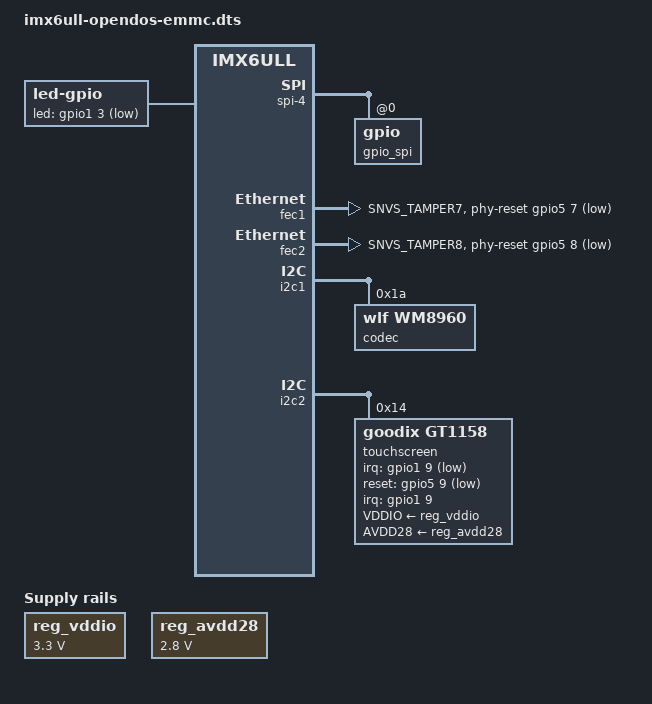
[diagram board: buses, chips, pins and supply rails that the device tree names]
#include "imx6ull-14x14-evk-emmc.dts"

/ {
	spi-4 {
		/delete-property/ cs-gpios;

		gpio_spi: gpio@0 {
			/delete-property/ enable-gpios;
		};
	};

	led {
		#address-cells = <1>;
		#size-cells = <1>;
		compatible = "led-gpio";
		pinctrl-names = "default";
		pinctrl-0 = <&pinctrl_led>;
		led-gpio = <&gpio1 3 GPIO_ACTIVE_LOW>;
		status = "okay";
	};

	reg_vddio: regulator-vddio {
		compatible = "regulator-fixed";
		regulator-name = "VDDIO";
		regulator-min-microvolt = <3300000>;
		regulator-max-microvolt = <3300000>;
		regulator-enable-high = <1>;
	};

	reg_avdd28: regulator-avdd28 {
		compatible = "regulator-fixed";
		regulator-name = "AVDD28";
		regulator-min-microvolt = <2800000>;
		regulator-max-microvolt = <2800000>;
		regulator-enable-high = <1>;
	};
};

&lcdif {
	display0: display@0 {
		display-timings {
			timing0: timing0 {
				clock-frequency = <51200000>;
				hactive = <800>;
				vactive = <480>;
			};
		};
	};
};

&iomuxc {
	pinctrl_lcdif_dat: lcdifdatgrp {
		fsl,pins = <
			MX6UL_PAD_LCD_DATA00__LCDIF_DATA00  0x49
			MX6UL_PAD_LCD_DATA01__LCDIF_DATA01  0x49
			MX6UL_PAD_LCD_DATA02__LCDIF_DATA02  0x49
			MX6UL_PAD_LCD_DATA03__LCDIF_DATA03  0x49
			MX6UL_PAD_LCD_DATA04__LCDIF_DATA04  0x49
			MX6UL_PAD_LCD_DATA05__LCDIF_DATA05  0x49
			MX6UL_PAD_LCD_DATA06__LCDIF_DATA06  0x49
			MX6UL_PAD_LCD_DATA07__LCDIF_DATA07  0x49
			MX6UL_PAD_LCD_DATA08__LCDIF_DATA08  0x49
			MX6UL_PAD_LCD_DATA09__LCDIF_DATA09  0x49
			MX6UL_PAD_LCD_DATA10__LCDIF_DATA10  0x49
			MX6UL_PAD_LCD_DATA11__LCDIF_DATA11  0x49
			MX6UL_PAD_LCD_DATA12__LCDIF_DATA12  0x49
			MX6UL_PAD_LCD_DATA13__LCDIF_DATA13  0x49
			MX6UL_PAD_LCD_DATA14__LCDIF_DATA14  0x49
			MX6UL_PAD_LCD_DATA15__LCDIF_DATA15  0x49
			MX6UL_PAD_LCD_DATA16__LCDIF_DATA16  0x49
			MX6UL_PAD_LCD_DATA17__LCDIF_DATA17  0x49
			MX6UL_PAD_LCD_DATA18__LCDIF_DATA18  0x49
			MX6UL_PAD_LCD_DATA19__LCDIF_DATA19  0x49
			MX6UL_PAD_LCD_DATA20__LCDIF_DATA20  0x49
			MX6UL_PAD_LCD_DATA21__LCDIF_DATA21  0x49
			MX6UL_PAD_LCD_DATA22__LCDIF_DATA22  0x49
			MX6UL_PAD_LCD_DATA23__LCDIF_DATA23  0x49
		>;
	};

	pinctrl_lcdif_ctrl: lcdifctrlgrp {
		fsl,pins = <
			MX6UL_PAD_LCD_CLK__LCDIF_CLK				0x79
			MX6UL_PAD_LCD_ENABLE__LCDIF_ENABLE	0x79
			MX6UL_PAD_LCD_HSYNC__LCDIF_HSYNC		0x79
			MX6UL_PAD_LCD_VSYNC__LCDIF_VSYNC		0x79
			// remove SNVS_TAMPER9
		>;
	};

	pinctrl_spi4: spi4grp {
		fsl,pins = <
			MX6UL_PAD_BOOT_MODE0__GPIO5_IO10	0x70a1
			MX6UL_PAD_BOOT_MODE1__GPIO5_IO11	0x70a1
		>;
	};

	pinctrl_enet1_reset: enet1resetgrp {
		fsl,pins = <
			MX6UL_PAD_SNVS_TAMPER7__GPIO5_IO07		0x10B0
		>;
	};

	pinctrl_enet2_reset: enet2resetgrp {
		fsl,pins = <
			MX6UL_PAD_SNVS_TAMPER8__GPIO5_IO08		0x10B0
		>;
	};

	pinctrl_led: ledgrp {
		fsl,pins = <
			MX6UL_PAD_GPIO1_IO03__GPIO1_IO03			0x10B0
		>;
	};

	pinctrl_usdhc1: usdhc1grp {
		fsl,pins = <
			MX6UL_PAD_SD1_CMD__USDHC1_CMD					0x17059
			MX6UL_PAD_SD1_CLK__USDHC1_CLK					0x10071
			MX6UL_PAD_SD1_DATA0__USDHC1_DATA0 		0x17059
			MX6UL_PAD_SD1_DATA1__USDHC1_DATA1 		0x17059
			MX6UL_PAD_SD1_DATA2__USDHC1_DATA2 		0x17059
			MX6UL_PAD_SD1_DATA3__USDHC1_DATA3 		0x17059
			MX6UL_PAD_UART1_RTS_B__GPIO1_IO19			0x17059
			MX6UL_PAD_GPIO1_IO05__USDHC1_VSELECT	0x17059
			// remove GPIO1_IO09
		>;
	};

	pinctrl_tsc: tscgrp {
		fsl,pins = <
			MX6UL_PAD_GPIO1_IO09__GPIO1_IO09			0x79
			MX6UL_PAD_SNVS_TAMPER9__GPIO5_IO09		0x10B0
		>;
	};
};

&fec1 {
	pinctrl-0 = <&pinctrl_enet1
				 &pinctrl_enet1_reset>;
	phy-reset-gpios = <&gpio5 7 GPIO_ACTIVE_LOW>;
	phy-reset-duration = <200>;
	phy-reset-post-delay = <200>;
};

&fec2 {
	pinctrl-0 = <&pinctrl_enet2
				 &pinctrl_enet2_reset>;
	phy-reset-gpios = <&gpio5 8 GPIO_ACTIVE_LOW>;
	phy-reset-duration = <200>;
	phy-reset-post-delay = <200>;
};

&tsc {
	status = "disabled";
};

&reg_sd1_vmmc {
	/delete-property/ gpio;
};

&i2c1 {
	codec: wm8960@1a {
		#sound-dai-cells = <0>;
		compatible = "wlf,wm8960";
		reg = <0x1a>;
		wlf,shared-lrclk;
		wlf,hp-cfg = <3 2 3>;
		wlf,gpio-cfg = <1 3>;
		clocks = <&clks IMX6UL_CLK_SAI2>;
		clock-names = "mclk";
	};
};

&i2c2 {
	touchscreen@14 {
		compatible = "goodix,gt1158";
		reg = <0x14>;
		pinctrl-names = "default";
		pinctrl-0 = <&pinctrl_tsc>;
		interrupt-parent = <&gpio1>;
		interrupts = <9 0>;
		irq-gpios = <&gpio1 9 GPIO_ACTIVE_LOW>;
		reset-gpios = <&gpio5 9 GPIO_ACTIVE_LOW>;
		status = "okay";
		VDDIO-supply = <&reg_vddio>;
		AVDD28-supply = <&reg_avdd28>;
	};

	/delete-node/ wm8960@1a;
};
